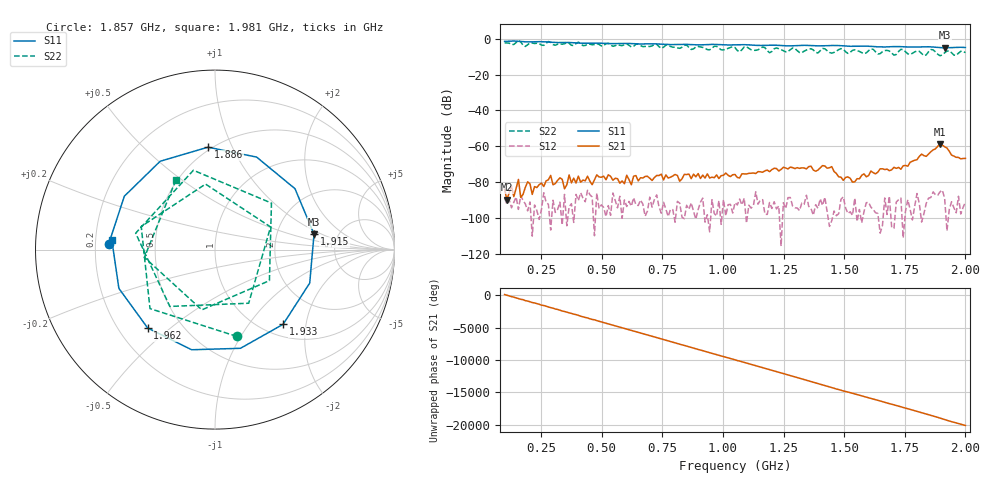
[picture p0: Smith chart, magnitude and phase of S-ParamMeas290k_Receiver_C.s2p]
!Keysight Technologies,N5242B,MY48420967,A.15.65.19
!Date: Saturday, February 04, 2023 19:00:36
!Correction: S11(C  1-Port  )
!S21(Off)
!S12(Off)
!S22(Off)
!S2P File: Measurements: S11, S21, S12, S22:
# Hz S  dB  R 50
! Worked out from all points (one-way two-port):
!   201 points, 100 MHz to 2 GHz, reference 50 ohm
!   highest |S21| = -58.83 dB at 1.895 GHz (marker M1); lowest = -89.9 dB at 109.5 MHz (marker M2)
!   lowest |S11| = -5.1 dB at 1.915 GHz (marker M3), VSWR 3.53, Z = 165 + j41.1 ohm
!   |S11| at or under -10 dB: nowhere
!   |S22| runs from -9.5 to -1.0 dB; largest |S21 - S12| = 0.0012
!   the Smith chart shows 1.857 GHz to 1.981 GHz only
!   S11 on the Smith chart (normalised r, x): 1.857 GHz: 0.26, +0.03; 1.886 GHz: 0.48, +0.81; 1.915 GHz: 3.31, +0.82; 1.933 GHz: 1.22, -1.49; 1.962 GHz: 0.32, -0.42; 1.981 GHz: 0.27, +0.04
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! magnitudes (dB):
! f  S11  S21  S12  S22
! 100 MHz  -1.5  -84.2  -89.1  -2.4
! 109.5 MHz  -1.4  -89.9  -92.3  -2.4
! 290 MHz  -2.0  -76.3  -106.8  -2.1
! 299.5 MHz  -2.0  -81.5  -90.1  -3.3
! 423 MHz  -2.5  -78.9  -88.9  -3.8
! 736.5 MHz  -3.0  -76.4  -93.8  -4.4
! 822 MHz  -3.1  -79.6  -91.8  -5.4
! 841 MHz  -3.1  -75.7  -100.5  -3.7
! 1.05 GHz  -3.4  -75.8  -91.5  -4.9
! 1.373 GHz  -3.9  -73.3  -98.5  -6.3
! 1.449 GHz  -3.8  -71.4  -101.6  -8.0
! 1.534 GHz  -4.2  -80.1  -98.6  -6.5
! 1.687 GHz  -4.4  -73.7  -87.9  -6.9
! 1.829 GHz  -4.5  -65.3  -97.7  -9.4
! 1.857 GHz  -4.5  -63.1  -88.6  -6.0
! 1.886 GHz  -4.9  -60.0  -87.4  -8.7
! 1.895 GHz  -5.0  -58.8  -85.4  -9.5
! 1.915 GHz  -5.1  -60.3  -89.2  -7.9
! 1.933 GHz  -5.0  -62.8  -95.3  -6.8
! 1.962 GHz  -4.8  -66.2  -97.2  -9.3
! 1.981 GHz  -4.8  -67.1  -97.8  -7.0
! 2 GHz  -4.9  -66.8  -91.3  -7.8
